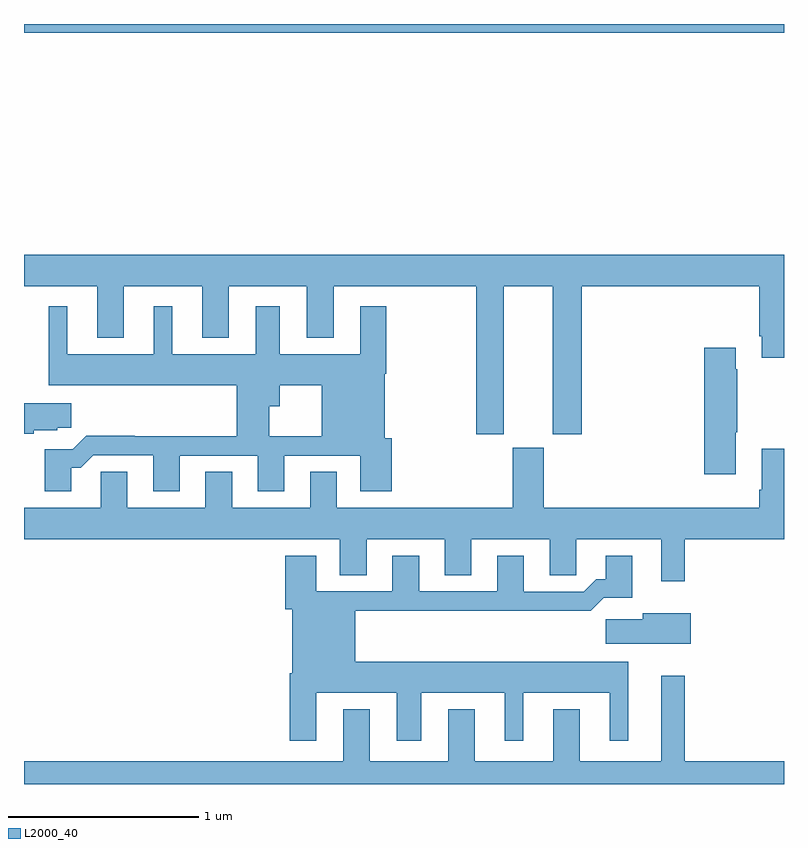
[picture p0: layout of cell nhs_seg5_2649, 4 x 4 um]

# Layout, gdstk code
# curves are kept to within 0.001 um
import gdstk
lib = gdstk.Library(unit=1e-6, precision=1e-09)
def R(c, l, rs):  # rectangles x0, y0, x1, y1
    for r in rs: c.add(gdstk.rectangle(r[:2], r[2:], *l))
def P(c, l, *ps):  # polygons
    for p in ps: c.add(gdstk.Polygon(p, *l))
L2000_40 = (2000, 40)

nhs_seg5_2649 = lib.new_cell('nhs_seg5_2649')
R(nhs_seg5_2649, L2000_40, [(265,864.752,269,864.799)])
P(nhs_seg5_2649, L2000_40, [(265,863.42),(265.385,863.42),(265.385,863.147),(265.525,863.147),(265.525,863.42),(265.937,863.42),(265.937,863.147),(266.077,863.147),(266.077,863.42),(266.489,863.42),(266.489,863.147),(266.629,863.147),(266.629,863.42),(267.379,863.42),(267.379,862.641),(267.526,862.641),(267.526,863.42),(267.782,863.42),(267.782,862.641),(267.935,862.641),(267.935,863.42),(268.871,863.42),(268.871,863.155),(268.883,863.155),(268.883,863.043),(269,863.043),(269,863.584),(265,863.584)],
  [(265.583,862.631),(265.328,862.631),(265.257,862.56),(265.109,862.56),(265.109,862.341),(265.249,862.341),(265.249,862.463),(265.298,862.463),(265.365,862.53),(265.679,862.53),(265.679,862.341),(265.819,862.341),(265.819,862.527),(266.231,862.527),(266.231,862.341),(266.371,862.341),(266.371,862.527),(266.771,862.527),(266.771,862.341),(266.936,862.341),(266.936,862.62),(266.899,862.62),(266.899,862.958),(266.907,862.958),(266.907,863.314),(266.771,863.314),(266.771,863.062),(266.347,863.062),(266.347,863.314),(266.219,863.314),(266.219,863.062),(265.78,863.062),(265.78,863.314),(265.682,863.314),(265.682,863.062),(265.228,863.062),(265.228,863.314),(265.13,863.314),(265.13,862.898),(266.12,862.898),(266.12,862.628),(266.29,862.628),(266.29,862.787),(266.347,862.787),(266.347,862.898),(266.567,862.898),(266.567,862.628),(265.583,862.628)],
  [(268.747,862.651),(268.755,862.651),(268.755,862.982),(268.747,862.982),(268.747,863.095),(268.58,863.095),(268.58,862.428),(268.747,862.428)],
  [(265.05,862.661),(265.176,862.661),(265.176,862.675),(265.249,862.675),(265.249,862.804),(265,862.804),(265,862.643),(265.05,862.643)],
  [(268.477,862.088),(269,862.088),(269,862.564),(268.883,862.564),(268.883,862.348),(268.871,862.348),(268.871,862.252),(267.736,862.252),(267.736,862.569),(267.572,862.569),(267.572,862.252),(266.647,862.252),(266.647,862.442),(266.507,862.442),(266.507,862.252),(266.095,862.252),(266.095,862.442),(265.955,862.442),(265.955,862.252),(265.543,862.252),(265.543,862.442),(265.404,862.442),(265.404,862.252),(265,862.252),(265,862.088),(266.663,862.088),(266.663,861.898),(266.803,861.898),(266.803,862.088),(267.215,862.088),(267.215,861.898),(267.355,861.898),(267.355,862.088),(267.767,862.088),(267.767,861.898),(267.906,861.898),(267.906,862.088),(268.355,862.088),(268.355,861.867),(268.477,861.867)],
  [(266.539,861.278),(266.963,861.278),(266.963,861.027),(267.091,861.027),(267.091,861.278),(267.53,861.278),(267.53,861.027),(267.628,861.027),(267.628,861.278),(268.082,861.278),(268.082,861.027),(268.18,861.027),(268.18,861.442),(266.743,861.442),(266.743,861.712),(267.727,861.712),(267.727,861.71),(267.983,861.71),(268.052,861.779),(268.201,861.779),(268.201,862),(268.061,862),(268.061,861.877),(268.012,861.877),(267.945,861.81),(267.631,861.81),(267.631,862),(267.491,862),(267.491,861.813),(267.079,861.813),(267.079,862),(266.939,862),(266.939,861.813),(266.539,861.813),(266.539,862),(266.375,862),(266.375,861.72),(266.411,861.72),(266.411,861.382),(266.399,861.382),(266.399,861.027),(266.539,861.027)],
  [(268.51,861.697),(268.256,861.697),(268.256,861.665),(268.062,861.665),(268.062,861.536),(268.51,861.536)],
  [(269,860.92),(268.477,860.92),(268.477,861.37),(268.355,861.37),(268.355,860.92),(267.925,860.92),(267.925,861.193),(267.785,861.193),(267.785,860.92),(267.373,860.92),(267.373,861.193),(267.233,861.193),(267.233,860.92),(266.821,860.92),(266.821,861.193),(266.681,861.193),(266.681,860.92),(265,860.92),(265,860.799),(269,860.799)])

lib.write_gds('nhs_seg5_2649.gds')
